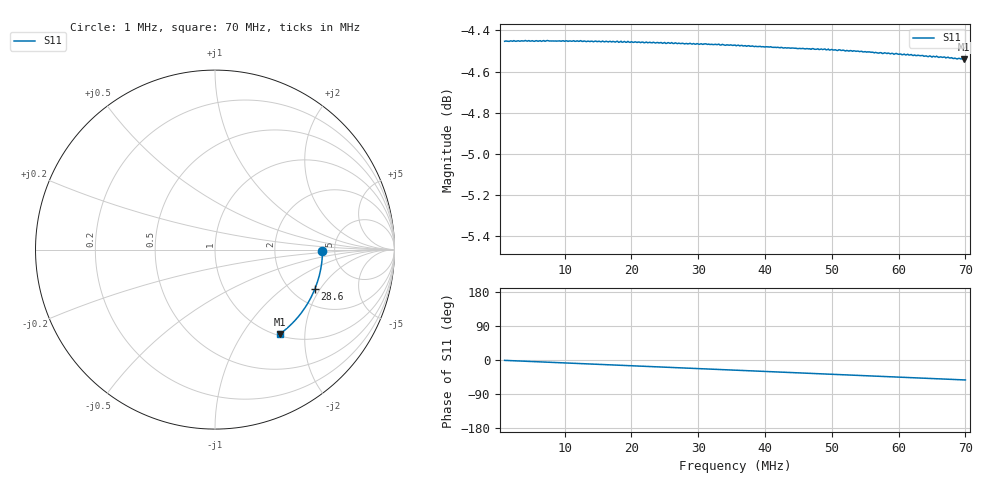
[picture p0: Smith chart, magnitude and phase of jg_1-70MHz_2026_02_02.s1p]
# HZ S RI R 50
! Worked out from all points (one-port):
!   401 points, 1 MHz to 70 MHz, reference 50 ohm
!   lowest |S11| = -4.5 dB at 69.83 MHz (marker M1), VSWR 3.91, Z = 51.4 - j74.7 ohm
!   |S11| at or under -10 dB: nowhere
!   S11 on the Smith chart (normalised r, x): 1 MHz: 3.98, -0.13; 28.6 MHz: 2.61, -1.79; 70 MHz: 1.02, -1.49
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1000000  0.5988 -0.0101
1345000  0.5989 -0.0129
3760000  0.5982 -0.0315
5485000  0.5972 -0.0451
7210000  0.5962 -0.0586
9625000  0.594 -0.0773
1.204e7  0.5912 -0.0958
1.42825e7  0.588 -0.1132
1.825e7  0.5812 -0.1436
2.032e7  0.577 -0.1591
2.25625e7  0.572 -0.1761
2.46325e7  0.5668 -0.1912
2.6875e7  0.5609 -0.2078
2.86e7  0.556 -0.2206
3.274e7  0.543 -0.25
3.55e7  0.5336 -0.2692
3.7915e7  0.5245 -0.2858
4.05025e7  0.5142 -0.3033
4.4125e7  0.4986 -0.3277
4.87825e7  0.4773 -0.3573
5.275e7  0.458 -0.3811
5.53375e7  0.4446 -0.396
5.77525e7  0.4316 -0.4095
6.1375e7  0.4115 -0.4292
6.586e7  0.3851 -0.4519
6.931e7  0.3637 -0.4684
6.98275e7  0.3605 -0.4707
7e7  0.3594 -0.4716
